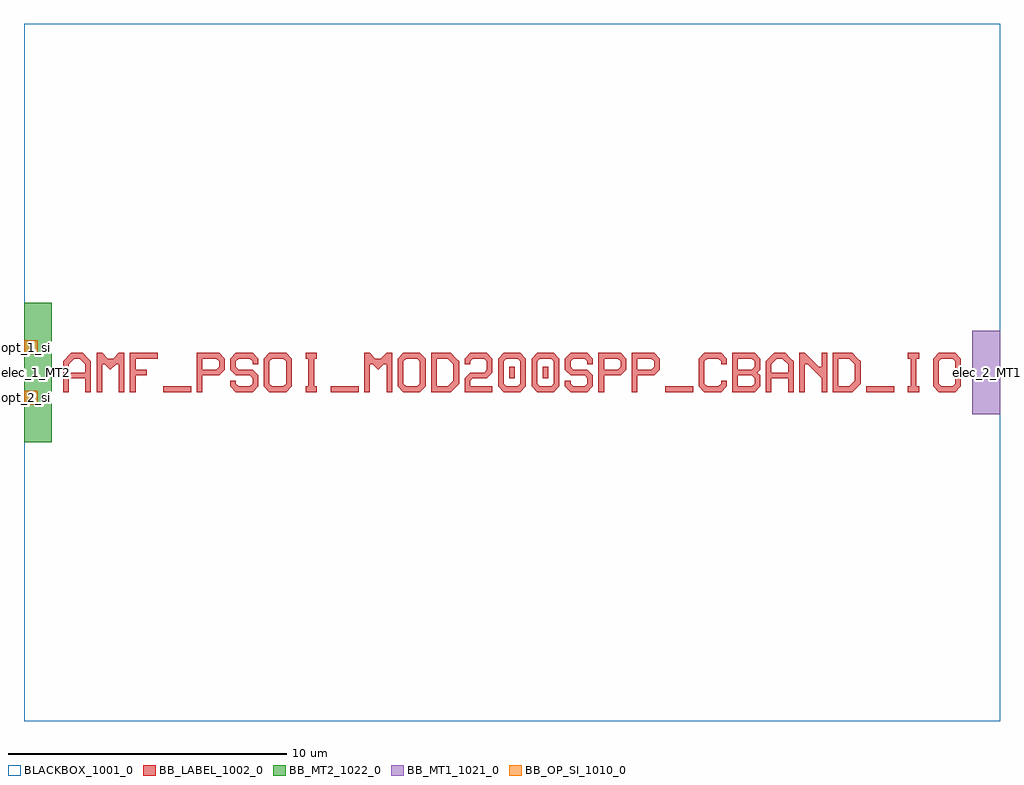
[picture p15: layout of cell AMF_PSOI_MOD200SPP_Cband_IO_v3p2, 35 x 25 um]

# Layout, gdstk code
import gdstk
lib = gdstk.Library(unit=1e-6, precision=1e-09)
def R(c, l, rs):  # rectangles x0, y0, x1, y1
    for r in rs: c.add(gdstk.rectangle(r[:2], r[2:], *l))
def P(c, l, *ps):  # polygons
    for p in ps: c.add(gdstk.Polygon(p, *l))
BLACKBOX_1001_0 = (1001, 0)
BB_LABEL_1002_0 = (1002, 0)
BB_OP_SI_1010_0 = (1010, 0)
BB_MT1_1021_0 = (1021, 0)
BB_MT2_1022_0 = (1022, 0)

amf_psoi_mod200spp_cband = lib.new_cell('AMF_PSOI_MOD200SPP_Cband_IO_v3p2')
R(amf_psoi_mod200spp_cband, BLACKBOX_1001_0, [(0,-12.5,35,12.5)])
R(amf_psoi_mod200spp_cband, BB_LABEL_1002_0, [(5,-0.7,6,-0.5), (11,-0.7,12,-0.5), (23,-0.7,24,-0.5), (30.2,-0.7,31.2,-0.5), (17.4,-0.2,17.6,0.2), (18.6,-0.2,18.8,0.2)])
P(amf_psoi_mod200spp_cband, BB_LABEL_1002_0, [(1.4,-0.7),(1.4,0.4),(1.7,0.7),(2.1,0.7),(2.3,0.5),(1.8,0.5),(1.6,0.3),(1.6,0),(2.2,0),(2.2,0.3),(2,0.5),(2.3,0.5),(2.4,0.4),(2.4,-0.7),(2.2,-0.7),(2.2,-0.2),(1.6,-0.2),(1.6,-0.7)],
  [(2.6,-0.7),(2.6,0.7),(2.8,0.7),(3,0.5),(3.2,0.5),(3.4,0.7),(3.6,0.7),(3.6,-0.7),(3.4,-0.7),(3.4,0.3),(3.3,0.3),(3.1,0.1),(2.9,0.3),(2.8,0.3),(2.8,-0.7)],
  [(3.8,-0.7),(3.8,0.7),(4.8,0.7),(4.8,0.5),(4,0.5),(4,0.1),(4.4,0.1),(4.4,-0.1),(4,-0.1),(4,-0.7)],
  [(6.2,-0.7),(6.2,0.7),(7,0.7),(7.2,0.5),(7.2,0.1),(7,-0.1),(6.4,-0.1),(6.4,0.1),(6.9,0.1),(7,0.2),(7,0.4),(6.9,0.5),(6.4,0.5),(6.4,-0.7)],
  [(7.6,-0.7),(7.4,-0.5),(7.4,-0.3),(7.6,-0.3),(7.6,-0.4),(7.7,-0.5),(8.1,-0.5),(8.2,-0.4),(8.2,-0.2),(8.1,-0.1),(7.6,-0.1),(7.4,0.1),(7.4,0.5),(7.6,0.7),(8.2,0.7),(8.4,0.5),(8.4,0.3),(8.2,0.3),(8.2,0.4),(8.1,0.5),(7.7,0.5),(7.6,0.4),(7.6,0.2),(7.7,0.1),(8.2,0.1),(8.4,-0.1),(8.4,-0.5),(8.2,-0.7)],
  [(8.8,-0.7),(8.6,-0.5),(8.6,0.5),(8.8,0.7),(9.4,0.7),(9.6,0.5),(9.6,0),(9.4,0),(9.4,0.4),(9.3,0.5),(8.9,0.5),(8.8,0.4),(8.8,-0.4),(8.9,-0.5),(9.3,-0.5),(9.4,-0.4),(9.4,0),(9.6,0),(9.6,-0.5),(9.4,-0.7)],
  [(10.1,-0.7),(10.1,-0.5),(10.2,-0.5),(10.2,0.5),(10.1,0.5),(10.1,0.7),(10.5,0.7),(10.5,0.5),(10.4,0.5),(10.4,-0.5),(10.5,-0.5),(10.5,-0.7)],
  [(12.2,-0.7),(12.2,0.7),(12.4,0.7),(12.6,0.5),(12.8,0.5),(13,0.7),(13.2,0.7),(13.2,-0.7),(13,-0.7),(13,0.3),(12.9,0.3),(12.7,0.1),(12.5,0.3),(12.4,0.3),(12.4,-0.7)],
  [(13.6,-0.7),(13.4,-0.5),(13.4,0.5),(13.6,0.7),(14.2,0.7),(14.4,0.5),(14.4,0),(14.2,0),(14.2,0.4),(14.1,0.5),(13.7,0.5),(13.6,0.4),(13.6,-0.4),(13.7,-0.5),(14.1,-0.5),(14.2,-0.4),(14.2,0),(14.4,0),(14.4,-0.5),(14.2,-0.7)],
  [(14.6,-0.7),(14.6,0.7),(15.3,0.7),(15.5,0.5),(14.8,0.5),(14.8,-0.5),(15.2,-0.5),(15.4,-0.3),(15.4,0.3),(15.2,0.5),(15.5,0.5),(15.6,0.4),(15.6,-0.4),(15.3,-0.7)],
  [(15.8,-0.7),(15.8,-0.2),(16,0),(16.5,0),(16.6,0.1),(16.6,0.4),(16.5,0.5),(16.1,0.5),(16,0.4),(16,0.3),(15.8,0.3),(15.8,0.5),(16,0.7),(16.6,0.7),(16.8,0.5),(16.8,0),(16.6,-0.2),(16.1,-0.2),(16,-0.3),(16,-0.5),(16.8,-0.5),(16.8,-0.7)],
  [(17.2,-0.7),(17,-0.5),(17,0.5),(17.2,0.7),(17.8,0.7),(18,0.5),(17.3,0.5),(17.2,0.4),(17.2,-0.4),(17.3,-0.5),(17.7,-0.5),(17.8,-0.4),(17.8,0.4),(17.7,0.5),(18,0.5),(18,-0.5),(17.8,-0.7)],
  [(18.4,-0.7),(18.2,-0.5),(18.2,0.5),(18.4,0.7),(19,0.7),(19.2,0.5),(18.5,0.5),(18.4,0.4),(18.4,-0.4),(18.5,-0.5),(18.9,-0.5),(19,-0.4),(19,0.4),(18.9,0.5),(19.2,0.5),(19.2,-0.5),(19,-0.7)],
  [(19.6,-0.7),(19.4,-0.5),(19.4,-0.3),(19.6,-0.3),(19.6,-0.4),(19.7,-0.5),(20.1,-0.5),(20.2,-0.4),(20.2,-0.2),(20.1,-0.1),(19.6,-0.1),(19.4,0.1),(19.4,0.5),(19.6,0.7),(20.2,0.7),(20.4,0.5),(20.4,0.3),(20.2,0.3),(20.2,0.4),(20.1,0.5),(19.7,0.5),(19.6,0.4),(19.6,0.2),(19.7,0.1),(20.2,0.1),(20.4,-0.1),(20.4,-0.5),(20.2,-0.7)],
  [(20.6,-0.7),(20.6,0.7),(21.4,0.7),(21.6,0.5),(21.6,0.1),(21.4,-0.1),(20.8,-0.1),(20.8,0.1),(21.3,0.1),(21.4,0.2),(21.4,0.4),(21.3,0.5),(20.8,0.5),(20.8,-0.7)],
  [(21.8,-0.7),(21.8,0.7),(22.6,0.7),(22.8,0.5),(22.8,0.1),(22.6,-0.1),(22,-0.1),(22,0.1),(22.5,0.1),(22.6,0.2),(22.6,0.4),(22.5,0.5),(22,0.5),(22,-0.7)],
  [(24.4,-0.7),(24.2,-0.5),(24.2,0.5),(24.4,0.7),(25,0.7),(25.2,0.5),(25.2,0.3),(25,0.3),(25,0.4),(24.9,0.5),(24.5,0.5),(24.4,0.4),(24.4,-0.4),(24.5,-0.5),(24.9,-0.5),(25,-0.4),(25,-0.3),(25.2,-0.3),(25.2,-0.5),(25,-0.7)],
  [(25.4,-0.7),(25.4,0.7),(26.2,0.7),(26.4,0.5),(25.6,0.5),(25.6,0.1),(26.1,0.1),(26.2,0.2),(26.2,0.4),(26.1,0.5),(26.4,0.5),(26.4,0.1),(26.3,0),(26.4,-0.1),(25.6,-0.1),(25.6,-0.5),(26.1,-0.5),(26.2,-0.4),(26.2,-0.2),(26.1,-0.1),(26.4,-0.1),(26.4,-0.5),(26.2,-0.7)],
  [(26.6,-0.7),(26.6,0.4),(26.9,0.7),(27.3,0.7),(27.5,0.5),(27,0.5),(26.8,0.3),(26.8,0),(27.4,0),(27.4,0.3),(27.2,0.5),(27.5,0.5),(27.6,0.4),(27.6,-0.7),(27.4,-0.7),(27.4,-0.2),(26.8,-0.2),(26.8,-0.7)],
  [(27.8,-0.7),(27.8,0.7),(28,0.7),(28.5,0.2),(28.6,0.2),(28.6,0.7),(28.8,0.7),(28.8,-0.7),(28.6,-0.7),(28.6,-0.2),(28.1,0.3),(28,0.3),(28,-0.7)],
  [(29,-0.7),(29,0.7),(29.7,0.7),(29.9,0.5),(29.2,0.5),(29.2,-0.5),(29.6,-0.5),(29.8,-0.3),(29.8,0.3),(29.6,0.5),(29.9,0.5),(30,0.4),(30,-0.4),(29.7,-0.7)],
  [(31.7,-0.7),(31.7,-0.5),(31.8,-0.5),(31.8,0.5),(31.7,0.5),(31.7,0.7),(32.1,0.7),(32.1,0.5),(32,0.5),(32,-0.5),(32.1,-0.5),(32.1,-0.7)],
  [(32.8,-0.7),(32.6,-0.5),(32.6,0.5),(32.8,0.7),(33.4,0.7),(33.6,0.5),(33.6,0),(33.4,0),(33.4,0.4),(33.3,0.5),(32.9,0.5),(32.8,0.4),(32.8,-0.4),(32.9,-0.5),(33.3,-0.5),(33.4,-0.4),(33.4,0),(33.6,0),(33.6,-0.5),(33.4,-0.7)])
R(amf_psoi_mod200spp_cband, BB_OP_SI_1010_0, [(0,-1.15,0.5,-0.65), (0,0.65,0.5,1.15)])
R(amf_psoi_mod200spp_cband, BB_MT1_1021_0, [(34,-1.5,35,1.5)])
R(amf_psoi_mod200spp_cband, BB_MT2_1022_0, [(0,-2.5,1,2.5)])
amf_psoi_mod200spp_cband.add(gdstk.Label('opt_1_si', (0,0.9), layer=1010, texttype=0))
amf_psoi_mod200spp_cband.add(gdstk.Label('opt_2_si', (0,-0.9), layer=1010, texttype=0))
amf_psoi_mod200spp_cband.add(gdstk.Label('elec_1_MT2', (0,0), layer=1022, texttype=0))
amf_psoi_mod200spp_cband.add(gdstk.Label('elec_2_MT1', (35,0), layer=1021, texttype=0))

lib.write_gds('AMF_PSOI_MOD200SPP_Cband_IO_v3p2.gds')
